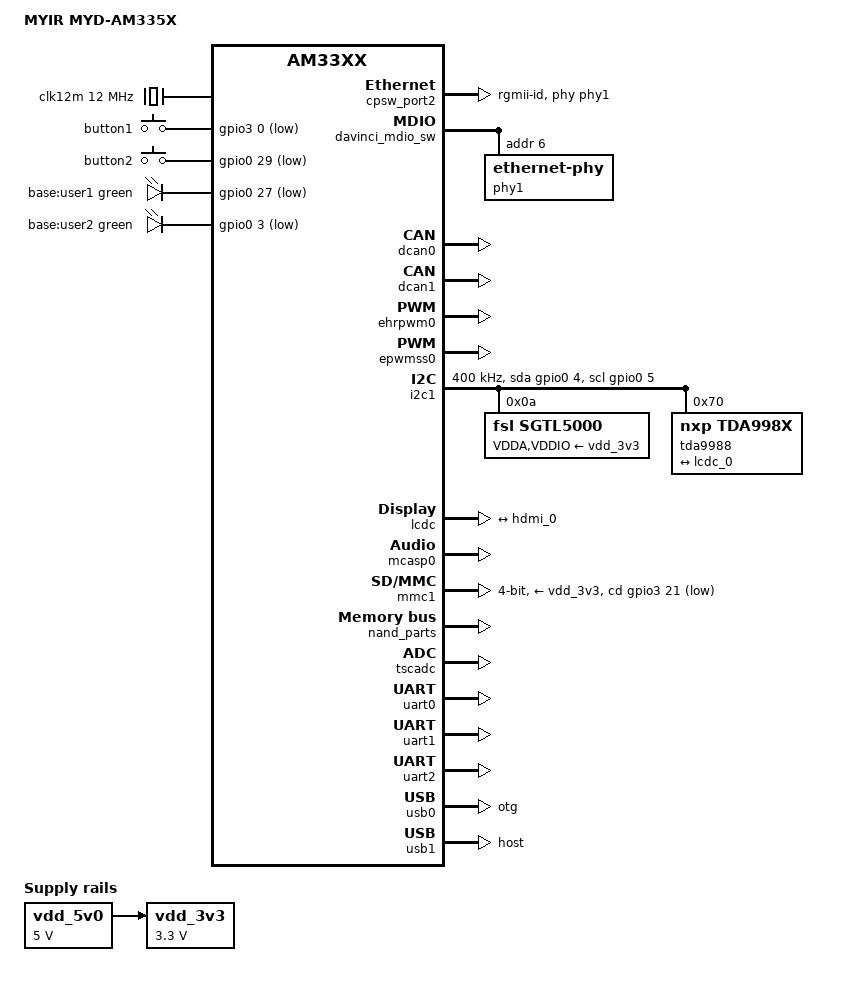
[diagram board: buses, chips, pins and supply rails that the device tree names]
// SPDX-License-Identifier: GPL-2.0-or-later
/* SPDX-FileCopyrightText: Alexander Shiyan, <shc_work@mail.ru> */
/* Based on code by myd_c335x.dts, MYiRtech.com */
/* Copyright (C) 2012 Texas Instruments Incorporated - http://www.ti.com/ */

/dts-v1/;

#include "am335x-myirtech-myc.dtsi"

#include <dt-bindings/display/tda998x.h>
#include <dt-bindings/input/input.h>

/ {
	model = "MYIR MYD-AM335X";
	compatible = "myir,myd-am335x", "myir,myc-am335x", "ti,am33xx";

	chosen {
		stdout-path = &uart0;
	};

	clk12m: clk12m {
		compatible = "fixed-clock";
		clock-frequency = <12000000>;

		#clock-cells = <0>;
	};

	gpio_buttons: gpio_buttons {
		compatible = "gpio-keys";
		pinctrl-names = "default";
		pinctrl-0 = <&gpio_buttons_pins>;
		#address-cells = <1>;
		#size-cells = <0>;

		button1: button@0 {
			reg = <0>;
			label = "button1";
			linux,code = <BTN_1>;
			gpios = <&gpio3 0 GPIO_ACTIVE_LOW>;
		};

		button2: button@1 {
			reg = <1>;
			label = "button2";
			linux,code = <BTN_2>;
			gpios = <&gpio0 29 GPIO_ACTIVE_LOW>;
		};
	};

	sound: sound {
		compatible = "simple-audio-card";
		simple-audio-card,format = "i2s";
		simple-audio-card,bitclock-master = <&master_codec>;
		simple-audio-card,frame-master = <&master_codec>;

		simple-audio-card,cpu {
			sound-dai = <&mcasp0>;
		};

		master_codec: simple-audio-card,codec@1 {
			sound-dai = <&sgtl5000>;
		};

		simple-audio-card,codec@2 {
			sound-dai = <&tda9988>;
		};
	};

	vdd_5v0: vdd_5v0_reg {
		compatible = "regulator-fixed";
		regulator-name = "vdd_5v0";
		regulator-min-microvolt = <5000000>;
		regulator-max-microvolt = <5000000>;
		regulator-always-on;
		regulator-boot-on;
	};

	vdd_3v3: vdd_3v3_reg {
		compatible = "regulator-fixed";
		regulator-name = "vdd-3v3";
		regulator-min-microvolt = <3300000>;
		regulator-max-microvolt = <3300000>;
		regulator-always-on;
		regulator-boot-on;
		vin-supply = <&vdd_5v0>;
	};
};

&cpsw_port2 {
	status = "okay";
	phy-handle = <&phy1>;
	phy-mode = "rgmii-id";
	ti,dual-emac-pvid = <2>;
};

&davinci_mdio_sw {
	phy1: ethernet-phy@6 {
		reg = <6>;
		eee-broken-1000t;
	};
};

&mac_sw {
	pinctrl-0 = <&eth_slave1_pins_default>, <&eth_slave2_pins_default>;
	pinctrl-1 = <&eth_slave1_pins_sleep>, <&eth_slave2_pins_sleep>;
	slaves = <2>;
};

&dcan0 {
	pinctrl-names = "default", "sleep";
	pinctrl-0 = <&dcan0_pins_default>;
	pinctrl-1 = <&dcan0_pins_sleep>;
	status = "okay";
};

&dcan1 {
	pinctrl-names = "default", "sleep";
	pinctrl-0 = <&dcan1_pins_default>;
	pinctrl-1 = <&dcan1_pins_sleep>;
	status = "okay";
};

&ehrpwm0 {
	pinctrl-names = "default", "sleep";
	pinctrl-0 = <&ehrpwm0_pins_default>;
	pinctrl-1 = <&ehrpwm0_pins_sleep>;
	status = "okay";
};

&epwmss0 {
	status = "okay";
};

&i2c1 {
	pinctrl-names = "default", "gpio", "sleep";
	pinctrl-0 = <&i2c1_pins_default>;
	pinctrl-1 = <&i2c1_pins_gpio>;
	pinctrl-2 = <&i2c1_pins_sleep>;
	clock-frequency = <400000>;
	scl-gpios = <&gpio0 5 (GPIO_ACTIVE_HIGH | GPIO_OPEN_DRAIN)>;
	sda-gpios = <&gpio0 4 (GPIO_ACTIVE_HIGH | GPIO_OPEN_DRAIN)>;
	status = "okay";

	sgtl5000: sgtl5000@a {
		compatible = "fsl,sgtl5000";
		reg =<0xa>;
		clocks = <&clk12m>;
		micbias-resistor-k-ohms = <4>;
		micbias-voltage-m-volts = <2250>;
		VDDA-supply = <&vdd_3v3>;
		VDDIO-supply = <&vdd_3v3>;

		#sound-dai-cells = <0>;
	};

	tda9988: tda9988@70 {
		compatible = "nxp,tda998x";
		reg =<0x70>;
		audio-ports = <TDA998x_I2S 1>;

		#sound-dai-cells = <0>;

		ports {
			port@0 {
				hdmi_0: endpoint@0 {
					remote-endpoint = <&lcdc_0>;
				};
			};
		};
	};
};

&lcdc {
	pinctrl-names = "default", "sleep";
	pinctrl-0 = <&lcdc_pins_default>;
	pinctrl-1 = <&lcdc_pins_sleep>;
	blue-and-red-wiring = "straight";
	status = "okay";

	port {
		lcdc_0: endpoint@0 {
			remote-endpoint = <&hdmi_0>;
		};
	};
};

&leds {
	pinctrl-0 = <&led_mod_pins &leds_pins>;

	led1: led1 {
		label = "base:user1";
		gpios = <&gpio0 27 GPIO_ACTIVE_LOW>;
		color = <LED_COLOR_ID_GREEN>;
		default-state = "off";
	};

	led2: led2 {
		label = "base:user2";
		gpios = <&gpio0 3 GPIO_ACTIVE_LOW>;
		color = <LED_COLOR_ID_GREEN>;
		default-state = "off";
	};
};

&mcasp0 {
	pinctrl-names = "default", "sleep";
	pinctrl-0 = <&mcasp0_pins_default>;
	pinctrl-1 = <&mcasp0_pins_sleep>;
	op-mode = <0>;
	tdm-slots = <2>;
	serial-dir = <0 1 2 0>;
	tx-num-evt = <32>;
	rx-num-evt = <32>;
	status = "okay";

	#sound-dai-cells = <0>;
};

&mmc1 {
	pinctrl-names = "default", "sleep";
	pinctrl-0 = <&mmc1_pins_default>;
	pinctrl-1 = <&mmc1_pins_sleep>;
	cd-gpios = <&gpio3 21 GPIO_ACTIVE_LOW>;
	bus-width = <4>;
	vmmc-supply = <&vdd_3v3>;
	status = "okay";
};

&nand0 {
	nand_parts: partitions {
		compatible = "fixed-partitions";
		#address-cells = <1>;
		#size-cells = <1>;

		partition@0 {
			label = "MLO";
			reg = <0x00000 0x20000>;
		};

		partition@80000 {
			label = "boot";
			reg = <0x80000 0x100000>;
		};
	};
};

&tscadc {
	status = "okay";

	adc: adc {
		ti,adc-channels = <0 1 2 3 4 5 6>;
	};
};

&uart0 {
	pinctrl-names = "default";
	pinctrl-0 = <&uart0_pins>;
	status = "okay";
};

&uart1 {
	pinctrl-names = "default", "sleep";
	pinctrl-0 = <&uart1_pins_default>;
	pinctrl-1 = <&uart1_pins_sleep>;
	linux,rs485-enabled-at-boot-time;
	status = "okay";
};

&uart2 {
	pinctrl-names = "default", "sleep";
	pinctrl-0 = <&uart2_pins_default>;
	pinctrl-1 = <&uart2_pins_sleep>;
	status = "okay";
};

&usb {
	pinctrl-names = "default";
	pinctrl-0 = <&usb_pins>;
};

&usb0 {
	dr_mode = "otg";
};

&usb0_phy {
	vcc-supply = <&vdd_5v0>;
};

&usb1 {
	dr_mode = "host";
};

&usb1_phy {
	vcc-supply = <&vdd_5v0>;
};

&vdd_mod {
	vin-supply = <&vdd_3v3>;
};

&am33xx_pinmux {
	dcan0_pins_default: pinmux_dcan0_pins_default {
		pinctrl-single,pins = <
			AM33XX_PADCONF(AM335X_PIN_UART1_CTSN, PIN_OUTPUT, MUX_MODE2)			/* dcan0_tx_mux2 */
			AM33XX_PADCONF(AM335X_PIN_UART1_RTSN, PIN_INPUT, MUX_MODE2)			/* dcan0_rx_mux2 */
		>;
	};

	dcan0_pins_sleep: pinmux_dcan0_pins_sleep {
		pinctrl-single,pins = <
			AM33XX_PADCONF(AM335X_PIN_UART1_CTSN, PIN_INPUT_PULLDOWN, MUX_MODE7)
			AM33XX_PADCONF(AM335X_PIN_UART1_RTSN, PIN_INPUT_PULLDOWN, MUX_MODE7)
		>;
	};

	dcan1_pins_default: pinmux_dcan1_pins_default {
		pinctrl-single,pins = <
			AM33XX_PADCONF(AM335X_PIN_UART0_CTSN, PIN_OUTPUT, MUX_MODE2)			/* dcan1_tx_mux0 */
			AM33XX_PADCONF(AM335X_PIN_UART0_RTSN, PIN_INPUT, MUX_MODE2)			/* dcan1_rx_mux0 */
		>;
	};

	dcan1_pins_sleep: pinmux_dcan1_pins_sleep {
		pinctrl-single,pins = <
			AM33XX_PADCONF(AM335X_PIN_UART0_CTSN, PIN_INPUT_PULLDOWN, MUX_MODE7)
			AM33XX_PADCONF(AM335X_PIN_UART0_RTSN, PIN_INPUT_PULLDOWN, MUX_MODE7)
		>;
	};

	ehrpwm0_pins_default: pinmux_ehrpwm0_pins_default {
		pinctrl-single,pins = <
			AM33XX_PADCONF(AM335X_PIN_SPI0_SCLK, PIN_OUTPUT, MUX_MODE3)			/* ehrpwm0A_mux1 */
		>;
	};

	ehrpwm0_pins_sleep: pinmux_ehrpwm0_pins_sleep {
		pinctrl-single,pins = <
			AM33XX_PADCONF(AM335X_PIN_SPI0_SCLK, PIN_INPUT_PULLDOWN, MUX_MODE7)
		>;
	};

	eth_slave2_pins_default: pinmux_eth_slave2_pins_default {
		pinctrl-single,pins = <
			AM33XX_PADCONF(AM335X_PIN_GPMC_A0, PIN_OUTPUT_PULLDOWN, MUX_MODE2)		/* rgmii2_tctl */
			AM33XX_PADCONF(AM335X_PIN_GPMC_A1, PIN_INPUT_PULLDOWN, MUX_MODE2)		/* rgmii2_rctl */
			AM33XX_PADCONF(AM335X_PIN_GPMC_A2, PIN_OUTPUT_PULLDOWN, MUX_MODE2)		/* rgmii2_td3 */
			AM33XX_PADCONF(AM335X_PIN_GPMC_A3, PIN_OUTPUT_PULLDOWN, MUX_MODE2)		/* rgmii2_td2 */
			AM33XX_PADCONF(AM335X_PIN_GPMC_A4, PIN_OUTPUT_PULLDOWN, MUX_MODE2)		/* rgmii2_td1 */
			AM33XX_PADCONF(AM335X_PIN_GPMC_A5, PIN_OUTPUT_PULLDOWN, MUX_MODE2)		/* rgmii2_td0 */
			AM33XX_PADCONF(AM335X_PIN_GPMC_A6, PIN_OUTPUT_PULLDOWN, MUX_MODE2)		/* rgmii2_tclk */
			AM33XX_PADCONF(AM335X_PIN_GPMC_A7, PIN_INPUT_PULLDOWN, MUX_MODE2)		/* rgmii2_rclk */
			AM33XX_PADCONF(AM335X_PIN_GPMC_A8, PIN_INPUT_PULLDOWN, MUX_MODE2)		/* rgmii2_rd3 */
			AM33XX_PADCONF(AM335X_PIN_GPMC_A9, PIN_INPUT_PULLDOWN, MUX_MODE2)		/* rgmii2_rd2 */
			AM33XX_PADCONF(AM335X_PIN_GPMC_A10, PIN_INPUT_PULLDOWN, MUX_MODE2		/* rgmii2_rd1 */)
			AM33XX_PADCONF(AM335X_PIN_GPMC_A11, PIN_INPUT_PULLDOWN, MUX_MODE2		/* rgmii2_rd0 */)
		>;
	};

	eth_slave2_pins_sleep: pinmux_eth_slave2_pins_sleep {
		pinctrl-single,pins = <
			AM33XX_PADCONF(AM335X_PIN_GPMC_A0, PIN_INPUT_PULLDOWN, MUX_MODE7)
			AM33XX_PADCONF(AM335X_PIN_GPMC_A1, PIN_INPUT_PULLDOWN, MUX_MODE7)
			AM33XX_PADCONF(AM335X_PIN_GPMC_A2, PIN_INPUT_PULLDOWN, MUX_MODE7)
			AM33XX_PADCONF(AM335X_PIN_GPMC_A3, PIN_INPUT_PULLDOWN, MUX_MODE7)
			AM33XX_PADCONF(AM335X_PIN_GPMC_A4, PIN_INPUT_PULLDOWN, MUX_MODE7)
			AM33XX_PADCONF(AM335X_PIN_GPMC_A5, PIN_INPUT_PULLDOWN, MUX_MODE7)
			AM33XX_PADCONF(AM335X_PIN_GPMC_A6, PIN_INPUT_PULLDOWN, MUX_MODE7)
			AM33XX_PADCONF(AM335X_PIN_GPMC_A7, PIN_INPUT_PULLDOWN, MUX_MODE7)
			AM33XX_PADCONF(AM335X_PIN_GPMC_A8, PIN_INPUT_PULLDOWN, MUX_MODE7)
			AM33XX_PADCONF(AM335X_PIN_GPMC_A9, PIN_INPUT_PULLDOWN, MUX_MODE7)
			AM33XX_PADCONF(AM335X_PIN_GPMC_A10, PIN_INPUT_PULLDOWN, MUX_MODE7)
			AM33XX_PADCONF(AM335X_PIN_GPMC_A11, PIN_INPUT_PULLDOWN, MUX_MODE7)
		>;
	};

	gpio_buttons_pins: pinmux_gpio_buttons_pins {
		pinctrl-single,pins = <
			AM33XX_PADCONF(AM335X_PIN_MII1_COL, PIN_INPUT_PULLDOWN, MUX_MODE7)		/* gpio3[0] */
			AM33XX_PADCONF(AM335X_PIN_RMII1_REF_CLK, PIN_INPUT, MUX_MODE7)			/* gpio0[29] */
		>;
	};

	i2c1_pins_default: pinmux_i2c1_pins_default {
		pinctrl-single,pins = <
			AM33XX_PADCONF(AM335X_PIN_SPI0_D1, PIN_INPUT | SLEWCTRL_FAST, MUX_MODE2)	/* I2C1_SDA_mux3 */
			AM33XX_PADCONF(AM335X_PIN_SPI0_CS0, PIN_INPUT | SLEWCTRL_FAST, MUX_MODE2)	/* I2C1_SCL_mux3 */
		>;
	};

	i2c1_pins_gpio: pinmux_i2c1_pins_gpio {
		pinctrl-single,pins = <
			AM33XX_PADCONF(AM335X_PIN_SPI0_D1, PIN_INPUT, MUX_MODE7)			/* gpio0[4] */
			AM33XX_PADCONF(AM335X_PIN_SPI0_CS0, PIN_INPUT, MUX_MODE7)			/* gpio0[5] */
		>;
	};

	i2c1_pins_sleep: pinmux_i2c1_pins_sleep {
		pinctrl-single,pins = <
			AM33XX_PADCONF(AM335X_PIN_SPI0_D1, PIN_INPUT_PULLDOWN, MUX_MODE7)
			AM33XX_PADCONF(AM335X_PIN_SPI0_CS0, PIN_INPUT_PULLDOWN, MUX_MODE7)
		>;
	};

	lcdc_pins_default: pinmux_lcdc_pins_default {
		pinctrl-single,pins = <
			AM33XX_PADCONF(AM335X_PIN_LCD_DATA0, PIN_OUTPUT, MUX_MODE0)			/* lcd_data0 */
			AM33XX_PADCONF(AM335X_PIN_LCD_DATA1, PIN_OUTPUT, MUX_MODE0)			/* lcd_data1 */
			AM33XX_PADCONF(AM335X_PIN_LCD_DATA2, PIN_OUTPUT, MUX_MODE0)			/* lcd_data2 */
			AM33XX_PADCONF(AM335X_PIN_LCD_DATA3, PIN_OUTPUT, MUX_MODE0)			/* lcd_data3 */
			AM33XX_PADCONF(AM335X_PIN_LCD_DATA4, PIN_OUTPUT, MUX_MODE0)			/* lcd_data4 */
			AM33XX_PADCONF(AM335X_PIN_LCD_DATA5, PIN_OUTPUT, MUX_MODE0)			/* lcd_data5 */
			AM33XX_PADCONF(AM335X_PIN_LCD_DATA6, PIN_OUTPUT, MUX_MODE0)			/* lcd_data6 */
			AM33XX_PADCONF(AM335X_PIN_LCD_DATA7, PIN_OUTPUT, MUX_MODE0)			/* lcd_data7 */
			AM33XX_PADCONF(AM335X_PIN_LCD_DATA8, PIN_OUTPUT, MUX_MODE0)			/* lcd_data8 */
			AM33XX_PADCONF(AM335X_PIN_LCD_DATA9, PIN_OUTPUT, MUX_MODE0)			/* lcd_data9 */
			AM33XX_PADCONF(AM335X_PIN_LCD_DATA10, PIN_OUTPUT, MUX_MODE0)			/* lcd_data10 */
			AM33XX_PADCONF(AM335X_PIN_LCD_DATA11, PIN_OUTPUT, MUX_MODE0)			/* lcd_data11 */
			AM33XX_PADCONF(AM335X_PIN_LCD_DATA12, PIN_OUTPUT, MUX_MODE0)			/* lcd_data12 */
			AM33XX_PADCONF(AM335X_PIN_LCD_DATA13, PIN_OUTPUT, MUX_MODE0)			/* lcd_data13 */
			AM33XX_PADCONF(AM335X_PIN_LCD_DATA14, PIN_OUTPUT, MUX_MODE0)			/* lcd_data14 */
			AM33XX_PADCONF(AM335X_PIN_LCD_DATA15, PIN_OUTPUT, MUX_MODE0)			/* lcd_data15 */
			AM33XX_PADCONF(AM335X_PIN_LCD_VSYNC, PIN_OUTPUT, MUX_MODE0)			/* lcd_vsync */
			AM33XX_PADCONF(AM335X_PIN_LCD_HSYNC, PIN_OUTPUT, MUX_MODE0)			/* lcd_hsync */
			AM33XX_PADCONF(AM335X_PIN_LCD_PCLK, PIN_OUTPUT, MUX_MODE0)			/* lcd_pclk */
			AM33XX_PADCONF(AM335X_PIN_LCD_AC_BIAS_EN, PIN_OUTPUT, MUX_MODE0)		/* lcd_ac_bias_en */
		>;
	};

	lcdc_pins_sleep: pinmux_lcdc_pins_sleep {
		pinctrl-single,pins = <
			AM33XX_PADCONF(AM335X_PIN_LCD_DATA0, PULL_DISABLE, MUX_MODE7)
			AM33XX_PADCONF(AM335X_PIN_LCD_DATA1, PULL_DISABLE, MUX_MODE7)
			AM33XX_PADCONF(AM335X_PIN_LCD_DATA2, PULL_DISABLE, MUX_MODE7)
			AM33XX_PADCONF(AM335X_PIN_LCD_DATA3, PULL_DISABLE, MUX_MODE7)
			AM33XX_PADCONF(AM335X_PIN_LCD_DATA4, PULL_DISABLE, MUX_MODE7)
			AM33XX_PADCONF(AM335X_PIN_LCD_DATA5, PULL_DISABLE, MUX_MODE7)
			AM33XX_PADCONF(AM335X_PIN_LCD_DATA6, PULL_DISABLE, MUX_MODE7)
			AM33XX_PADCONF(AM335X_PIN_LCD_DATA7, PULL_DISABLE, MUX_MODE7)
			AM33XX_PADCONF(AM335X_PIN_LCD_DATA8, PULL_DISABLE, MUX_MODE7)
			AM33XX_PADCONF(AM335X_PIN_LCD_DATA9, PULL_DISABLE, MUX_MODE7)
			AM33XX_PADCONF(AM335X_PIN_LCD_DATA10, PULL_DISABLE, MUX_MODE7)
			AM33XX_PADCONF(AM335X_PIN_LCD_DATA11, PULL_DISABLE, MUX_MODE7)
			AM33XX_PADCONF(AM335X_PIN_LCD_DATA12, PULL_DISABLE, MUX_MODE7)
			AM33XX_PADCONF(AM335X_PIN_LCD_DATA13, PULL_DISABLE, MUX_MODE7)
			AM33XX_PADCONF(AM335X_PIN_LCD_DATA14, PULL_DISABLE, MUX_MODE7)
			AM33XX_PADCONF(AM335X_PIN_LCD_DATA15, PULL_DISABLE, MUX_MODE7)
			AM33XX_PADCONF(AM335X_PIN_LCD_VSYNC, PIN_INPUT_PULLDOWN, MUX_MODE7)
			AM33XX_PADCONF(AM335X_PIN_LCD_HSYNC, PIN_INPUT_PULLDOWN, MUX_MODE7)
			AM33XX_PADCONF(AM335X_PIN_LCD_PCLK, PIN_INPUT_PULLDOWN, MUX_MODE7)
			AM33XX_PADCONF(AM335X_PIN_LCD_AC_BIAS_EN, PIN_INPUT_PULLDOWN, MUX_MODE7)
		>;
	};

	leds_pins: pinmux_leds_pins {
		pinctrl-single,pins = <
			AM33XX_PADCONF(AM335X_PIN_GPMC_AD11, PIN_OUTPUT, MUX_MODE7)			/* gpio0[27] */
			AM33XX_PADCONF(AM335X_PIN_SPI0_D0, PIN_OUTPUT, MUX_MODE7)			/* gpio0[3] */
		>;
	};

	mcasp0_pins_default: pinmux_mcasp0_pins_default {
		pinctrl-single,pins = <
			AM33XX_PADCONF(AM335X_PIN_MCASP0_ACLKX, PIN_INPUT_PULLDOWN, MUX_MODE0)		/* mcasp0_aclkx_mux0 */
			AM33XX_PADCONF(AM335X_PIN_MCASP0_FSX, PIN_INPUT_PULLDOWN, MUX_MODE0)		/* mcasp0_fsx_mux0 */
			AM33XX_PADCONF(AM335X_PIN_MCASP0_AHCLKR, PIN_INPUT_PULLDOWN, MUX_MODE2)		/* mcasp0_axr2_mux0 */
			AM33XX_PADCONF(AM335X_PIN_MCASP0_AXR1, PIN_INPUT_PULLDOWN, MUX_MODE0)		/* mcasp0_axr1_mux0 */
		>;
	};

	mcasp0_pins_sleep: pinmux_mcasp0_pins_sleep {
		pinctrl-single,pins = <
			AM33XX_PADCONF(AM335X_PIN_MCASP0_ACLKX, PIN_INPUT_PULLDOWN, MUX_MODE7)
			AM33XX_PADCONF(AM335X_PIN_MCASP0_FSX, PIN_INPUT_PULLDOWN, MUX_MODE7)
			AM33XX_PADCONF(AM335X_PIN_MCASP0_AHCLKR, PIN_INPUT_PULLDOWN, MUX_MODE7)
			AM33XX_PADCONF(AM335X_PIN_MCASP0_AXR1, PIN_INPUT_PULLDOWN, MUX_MODE7)
		>;
	};

	mmc1_pins_default: pinmux_mmc1_pins_default {
		pinctrl-single,pins = <
			AM33XX_PADCONF(AM335X_PIN_MMC0_DAT3, PIN_INPUT_PULLUP, MUX_MODE0)		/* mmc0_dat3 */
			AM33XX_PADCONF(AM335X_PIN_MMC0_DAT2, PIN_INPUT_PULLUP, MUX_MODE0)		/* mmc0_dat2 */
			AM33XX_PADCONF(AM335X_PIN_MMC0_DAT1, PIN_INPUT_PULLUP, MUX_MODE0)		/* mmc0_dat1 */
			AM33XX_PADCONF(AM335X_PIN_MMC0_DAT0, PIN_INPUT_PULLUP, MUX_MODE0)		/* mmc0_dat0 */
			AM33XX_PADCONF(AM335X_PIN_MMC0_CLK, PIN_INPUT_PULLUP, MUX_MODE0)		/* mmc0_clk */
			AM33XX_PADCONF(AM335X_PIN_MMC0_CMD, PIN_INPUT_PULLUP, MUX_MODE0)		/* mmc0_cmd */
			AM33XX_PADCONF(AM335X_PIN_MCASP0_AHCLKX, PIN_INPUT_PULLUP, MUX_MODE7)		/* gpio3[21] */
		>;
	};

	mmc1_pins_sleep: pinmux_mmc1_pins_sleep {
		pinctrl-single,pins = <
			AM33XX_PADCONF(AM335X_PIN_MMC0_DAT3, PIN_INPUT_PULLDOWN, MUX_MODE0)
			AM33XX_PADCONF(AM335X_PIN_MMC0_DAT2, PIN_INPUT_PULLDOWN, MUX_MODE0)
			AM33XX_PADCONF(AM335X_PIN_MMC0_DAT1, PIN_INPUT_PULLDOWN, MUX_MODE0)
			AM33XX_PADCONF(AM335X_PIN_MMC0_DAT0, PIN_INPUT_PULLDOWN, MUX_MODE0)
			AM33XX_PADCONF(AM335X_PIN_MMC0_CLK, PIN_INPUT_PULLDOWN, MUX_MODE0)
			AM33XX_PADCONF(AM335X_PIN_MMC0_CMD, PIN_INPUT_PULLDOWN, MUX_MODE0)
			AM33XX_PADCONF(AM335X_PIN_MCASP0_AHCLKX, PIN_INPUT_PULLDOWN, MUX_MODE7)
		>;
	};

	uart0_pins: pinmux_uart0_pins {
		pinctrl-single,pins = <
			AM33XX_PADCONF(AM335X_PIN_UART0_RXD, PIN_INPUT_PULLUP, MUX_MODE0)		/* uart0_rxd */
			AM33XX_PADCONF(AM335X_PIN_UART0_TXD, PIN_OUTPUT_PULLDOWN, MUX_MODE0)		/* uart0_txd */
		>;
	};

	uart1_pins_default: pinmux_uart1_pins_default {
		pinctrl-single,pins = <
			AM33XX_PADCONF(AM335X_PIN_UART1_RXD, PIN_INPUT_PULLUP, MUX_MODE0)		/* uart1_rxd */
			AM33XX_PADCONF(AM335X_PIN_UART1_TXD, PIN_OUTPUT_PULLDOWN, MUX_MODE0)		/* uart1_txd */
		>;
	};

	uart1_pins_sleep: pinmux_uart1_pins_sleep {
		pinctrl-single,pins = <
			AM33XX_PADCONF(AM335X_PIN_UART1_RXD, PIN_INPUT_PULLDOWN, MUX_MODE7)
			AM33XX_PADCONF(AM335X_PIN_UART1_TXD, PIN_INPUT_PULLDOWN, MUX_MODE7)
		>;
	};

	uart2_pins_default: pinmux_uart2_pins_default {
		pinctrl-single,pins = <
			AM33XX_PADCONF(AM335X_PIN_MII1_CRS, PIN_INPUT, MUX_MODE6)			/* uart2_rxd_mux1 */
			AM33XX_PADCONF(AM335X_PIN_MII1_RX_ER, PIN_OUTPUT, MUX_MODE6)			/* uart2_txd_mux1 */
		>;
	};

	uart2_pins_sleep: pinmux_uart2_pins_sleep {
		pinctrl-single,pins = <
			AM33XX_PADCONF(AM335X_PIN_MII1_CRS, PIN_INPUT_PULLDOWN, MUX_MODE7)
			AM33XX_PADCONF(AM335X_PIN_MII1_RX_ER, PIN_INPUT_PULLDOWN, MUX_MODE7)
		>;
	};

	usb_pins: pinmux_usb_pins {
		pinctrl-single,pins = <
			AM33XX_PADCONF(AM335X_PIN_USB0_DRVVBUS, PIN_OUTPUT_PULLDOWN, MUX_MODE0)		/* USB0_DRVVBUS */
			AM33XX_PADCONF(AM335X_PIN_USB1_DRVVBUS, PIN_OUTPUT_PULLDOWN, MUX_MODE0)		/* USB1_DRVVBUS */
		>;
	};
};
